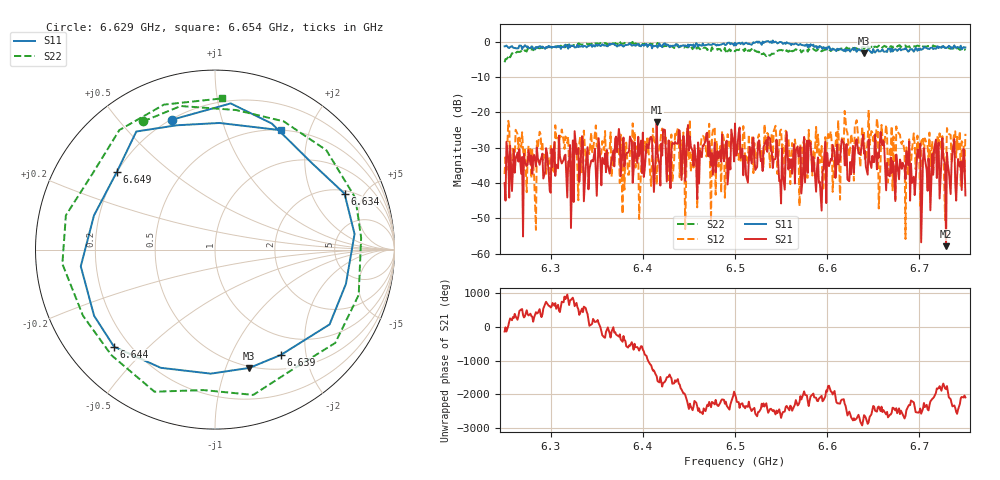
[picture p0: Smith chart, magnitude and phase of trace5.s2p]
# Hz S RI R 50
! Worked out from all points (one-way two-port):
!   401 points, 6.25 GHz to 6.75 GHz, reference 50 ohm
!   highest |S21| = -22.84 dB at 6.415 GHz (marker M1); lowest = -57.9 dB at 6.729 GHz (marker M2)
!   lowest |S11| = -3.3 dB at 6.64 GHz (marker M3), VSWR 5.38, Z = 24.3 - j60.6 ohm
!   |S11| at or under -10 dB: nowhere
!   |S22| runs from -5.8 to 0.1 dB; largest |S21 - S12| = 0.14
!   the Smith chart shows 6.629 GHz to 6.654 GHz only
!   S11 on the Smith chart (normalised r, x): 6.629 GHz: 0.20, +0.70; 6.634 GHz: 2.19, +3.57; 6.639 GHz: 0.70, -1.58; 6.644 GHz: 0.14, -0.40; 6.649 GHz: 0.20, +0.34; 6.654 GHz: 0.50, +1.58
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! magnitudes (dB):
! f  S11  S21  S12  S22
! 6.25 GHz  -1.3  -40.0  -37.5  -5.8
! 6.265 GHz  -1.8  -33.9  -30.4  -2.8
! 6.281 GHz  -1.9  -33.2  -34.6  -2.4
! 6.288 GHz  -1.3  -34.8  -25.5  -1.8
! 6.334 GHz  -1.2  -26.7  -37.0  -0.8
! 6.415 GHz  -1.1  -22.8  -40.5  -0.7
! 6.418 GHz  -0.5  -34.7  -29.6  -0.6
! 6.5 GHz  -0.2  -23.2  -28.6  -2.7
! 6.535 GHz  0.2  -31.1  -25.8  -3.6
! 6.551 GHz  -0.2  -30.2  -29.9  -2.4
! 6.584 GHz  -1.1  -36.7  -37.9  -2.1
! 6.594 GHz  -1.6  -47.8  -29.5  -2.7
! 6.629 GHz  -2.4  -37.1  -39.3  -1.7
! 6.634 GHz  -2.1  -31.6  -28.1  -1.6
! 6.639 GHz  -3.2  -26.3  -29.0  -1.4
! 6.64 GHz  -3.3  -31.7  -25.2  -2.0
! 6.644 GHz  -2.2  -37.6  -27.8  -1.3
! 6.649 GHz  -3.1  -32.3  -25.8  -1.4
! 6.654 GHz  -2.4  -36.1  -21.7  -1.5
! 6.668 GHz  -2.0  -38.1  -30.6  -1.5
! 6.729 GHz  -1.7  -57.9  -36.3  -1.3
! 6.75 GHz  -1.6  -43.5  -26.1  -2.4
